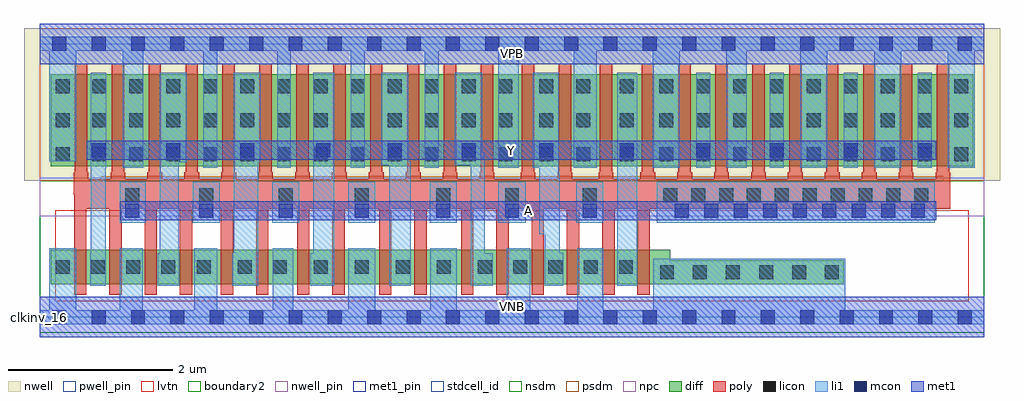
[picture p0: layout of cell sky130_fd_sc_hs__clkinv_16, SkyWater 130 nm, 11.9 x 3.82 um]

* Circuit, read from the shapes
.subckt sky130_fd_sc_hs__clkinv_16 A VGND VNB VPB VPWR Y
XM1 Y A VGND VNB sky130_fd_pr__nfet_01v8_lvt w=0.42 l=0.15 m=16
XM2 Y A VPWR VPB sky130_fd_pr__pfet_01v8 w=1.12 l=0.15 m=24
.ends

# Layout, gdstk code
import gdstk
lib = gdstk.Library(unit=1e-6, precision=1e-09)
def R(c, l, rs):  # rectangles x0, y0, x1, y1
    for r in rs: c.add(gdstk.rectangle(r[:2], r[2:], *l))
def A(c, l, x, y, w, h, nx, ny, dx, dy):  # array of equal rectangles
    R(c, l, [(x+i*dx, y+j*dy, x+i*dx+w, y+j*dy+h) for i in range(nx) for j in range(ny)])
def P(c, l, *ps):  # polygons
    for p in ps: c.add(gdstk.Polygon(p, *l))
nwell_pin = (64, 16)
nwell = (64, 20)
diff = (65, 20)
poly = (66, 20)
licon = (66, 44)
li1 = (67, 20)
mcon = (67, 44)
met1_pin = (68, 16)
met1 = (68, 20)
stdcell_id = (81, 4)
nsdm = (93, 44)
psdm = (94, 20)
npc = (95, 20)
pwell_pin = (122, 16)
lvtn = (125, 44)
boundary2 = (236, 0)

sky130_fd_sc_hs__clkinv_ = lib.new_cell('sky130_fd_sc_hs__clkinv_16')
R(sky130_fd_sc_hs__clkinv_, nwell_pin, [(0,3.085,11.52,3.33)])
R(sky130_fd_sc_hs__clkinv_, nwell, [(-0.19,1.66,11.71,3.52)])
R(sky130_fd_sc_hs__clkinv_, diff, [(0.135,1.84,11.385,2.96)])
P(sky130_fd_sc_hs__clkinv_, diff, [(9.805,0.69),(7.69,0.69),(7.69,0.82),(0.135,0.82),(0.135,0.4),(9.805,0.4)])
P(sky130_fd_sc_hs__clkinv_, poly, [(11.105,1.765),(11.09,1.765),(11.09,3.09),(10.94,3.09),(10.94,1.765),(10.925,1.765),(10.925,1.68),(10.655,1.68),(10.655,1.765),(10.64,1.765),(10.64,3.09),(10.49,3.09),(10.49,1.765),(10.475,1.765),(10.475,1.68),(10.205,1.68),(10.205,1.765),(10.19,1.765),(10.19,3.09),(10.04,3.09),(10.04,1.765),(10.025,1.765),(10.025,1.68),(9.755,1.68),(9.755,1.765),(9.74,1.765),(9.74,3.09),(9.59,3.09),(9.59,1.765),(9.575,1.765),(9.575,1.68),(9.305,1.68),(9.305,1.765),(9.29,1.765),(9.29,3.09),(9.14,3.09),(9.14,1.765),(9.125,1.765),(9.125,1.68),(8.855,1.68),(8.855,1.765),(8.84,1.765),(8.84,3.09),(8.69,3.09),(8.69,1.765),(8.675,1.765),(8.675,1.68),(8.405,1.68),(8.405,1.765),(8.39,1.765),(8.39,3.09),(8.24,3.09),(8.24,1.765),(8.225,1.765),(8.225,1.68),(7.955,1.68),(7.955,1.765),(7.94,1.765),(7.94,3.09),(7.79,3.09),(7.79,1.765),(7.775,1.765),(7.775,1.68),(7.505,1.68),(7.505,1.765),(7.49,1.765),(7.49,3.09),(7.34,3.09),(7.34,1.765),(7.325,1.765),(7.325,1.68),(6.995,1.68),(6.995,1.765),(6.98,1.765),(6.98,3.09),(6.83,3.09),(6.83,1.765),(6.815,1.765),(6.815,1.68),(6.495,1.68),(6.495,1.765),(6.48,1.765),(6.48,3.09),(6.33,3.09),(6.33,1.765),(6.315,1.765),(6.315,1.68),(6.045,1.68),(6.045,1.765),(6.03,1.765),(6.03,3.09),(5.88,3.09),(5.88,1.765),(5.865,1.765),(5.865,1.68),(5.76,1.68),(5.76,1.32),(6,1.32),(6,0.27),(6.15,0.27),(6.15,1.32),(6.43,1.32),(6.43,0.27),(6.58,0.27),(6.58,1.32),(6.86,1.32),(6.86,0.27),(7.01,0.27),(7.01,1.32),(7.29,1.32),(7.29,0.27),(7.44,0.27),(7.44,1.32),(11.105,1.32)],
  [(5.76,1.68),(5.545,1.68),(5.545,1.765),(5.53,1.765),(5.53,3.09),(5.38,3.09),(5.38,1.765),(5.365,1.765),(5.365,1.68),(5.095,1.68),(5.095,1.765),(5.08,1.765),(5.08,3.09),(4.93,3.09),(4.93,1.765),(4.915,1.765),(4.915,1.68),(4.645,1.68),(4.645,1.765),(4.63,1.765),(4.63,3.09),(4.48,3.09),(4.48,1.765),(4.465,1.765),(4.465,1.68),(4.195,1.68),(4.195,1.765),(4.18,1.765),(4.18,3.09),(4.03,3.09),(4.03,1.765),(4.015,1.765),(4.015,1.68),(3.745,1.68),(3.745,1.765),(3.73,1.765),(3.73,3.09),(3.58,3.09),(3.58,1.765),(3.565,1.765),(3.565,1.68),(3.295,1.68),(3.295,1.765),(3.28,1.765),(3.28,3.09),(3.13,3.09),(3.13,1.765),(3.115,1.765),(3.115,1.68),(2.845,1.68),(2.845,1.765),(2.83,1.765),(2.83,3.09),(2.68,3.09),(2.68,1.765),(2.665,1.765),(2.665,1.68),(2.395,1.68),(2.395,1.765),(2.38,1.765),(2.38,3.09),(2.23,3.09),(2.23,1.765),(2.215,1.765),(2.215,1.68),(1.945,1.68),(1.945,1.765),(1.93,1.765),(1.93,3.09),(1.78,3.09),(1.78,1.765),(1.765,1.765),(1.765,1.68),(1.495,1.68),(1.495,1.765),(1.48,1.765),(1.48,3.09),(1.33,3.09),(1.33,1.765),(1.315,1.765),(1.315,1.68),(1.045,1.68),(1.045,1.765),(1.03,1.765),(1.03,3.09),(0.88,3.09),(0.88,1.765),(0.865,1.765),(0.865,1.68),(0.595,1.68),(0.595,1.765),(0.58,1.765),(0.58,3.09),(0.43,3.09),(0.43,1.765),(0.415,1.765),(0.415,1.5),(0.42,1.5),(0.42,0.27),(0.57,0.27),(0.57,1.32),(0.85,1.32),(0.85,0.27),(1,0.27),(1,1.32),(1.28,1.32),(1.28,0.27),(1.43,0.27),(1.43,1.32),(1.71,1.32),(1.71,0.27),(1.86,0.27),(1.86,1.32),(2.21,1.32),(2.21,0.27),(2.36,0.27),(2.36,1.32),(2.64,1.32),(2.64,0.27),(2.79,0.27),(2.79,1.32),(3.14,1.32),(3.14,0.27),(3.29,0.27),(3.29,1.32),(3.57,1.32),(3.57,0.27),(3.72,0.27),(3.72,1.32),(4.14,1.32),(4.14,0.27),(4.29,0.27),(4.29,1.32),(4.57,1.32),(4.57,0.27),(4.72,0.27),(4.72,1.32),(5.14,1.32),(5.14,0.27),(5.29,0.27),(5.29,1.32),(5.57,1.32),(5.57,0.27),(5.72,0.27),(5.72,1.32),(5.76,1.32)])
A(sky130_fd_sc_hs__clkinv_, licon, 7.565, 0.46, 0.17, 0.17, 3, 1, 0.4, 0)
A(sky130_fd_sc_hs__clkinv_, licon, 8.775, 0.46, 0.17, 0.17, 3, 1, 0.4, 0)
A(sky130_fd_sc_hs__clkinv_, licon, 0.195, 0.525, 0.17, 0.17, 5, 1, 0.43, 0)
A(sky130_fd_sc_hs__clkinv_, licon, 2.845, 0.525, 0.17, 0.17, 6, 1, 0.5, 0)
A(sky130_fd_sc_hs__clkinv_, licon, 5.775, 0.525, 0.17, 0.17, 4, 1, 0.43, 0)
A(sky130_fd_sc_hs__clkinv_, licon, 7.605, 1.4, 0.17, 0.17, 10, 1, 0.34, 0)
A(sky130_fd_sc_hs__clkinv_, licon, 0.195, 1.9, 0.17, 0.17, 13, 3, 0.45, 0.415)
A(sky130_fd_sc_hs__clkinv_, licon, 6.095, 1.9, 0.17, 0.17, 1, 3, 0, 0.415)
A(sky130_fd_sc_hs__clkinv_, licon, 6.545, 1.9, 0.17, 0.17, 1, 3, 0, 0.415)
A(sky130_fd_sc_hs__clkinv_, licon, 7.075, 1.9, 0.17, 0.17, 1, 3, 0, 0.415)
A(sky130_fd_sc_hs__clkinv_, licon, 7.555, 1.9, 0.17, 0.17, 9, 3, 0.45, 0.415)
R(sky130_fd_sc_hs__clkinv_, licon, [(2.415,0.525,2.585,0.695), (1.045,1.4,1.215,1.57), (1.945,1.4,2.115,1.57), (2.915,1.4,3.085,1.57), (3.845,1.4,4.015,1.57), (4.835,1.4,5.005,1.57), (5.675,1.4,5.845,1.57), (6.625,1.4,6.795,1.57)])
A(sky130_fd_sc_hs__clkinv_, li1, 8.005, 1.82, 0.17, 1.16, 4, 1, 0.9, 0)
R(sky130_fd_sc_hs__clkinv_, li1, [(7.045,0.38,7.29,2.98), (0.975,1.15,1.295,1.65), (1.865,1.15,2.195,1.65), (2.835,1.15,3.165,1.65), (3.765,1.15,4.095,1.65), (4.755,1.15,5.085,1.65), (5.595,1.15,5.925,1.65), (6.545,1.15,6.875,1.65), (7.525,1.15,10.915,1.65)])
P(sky130_fd_sc_hs__clkinv_, li1, [(11.52,3.415),(0,3.415),(0,3.245),(0.115,3.245),(0.115,1.9),(0.445,1.9),(0.445,3.245),(1.015,3.245),(1.015,1.82),(1.265,1.82),(1.265,3.245),(1.995,3.245),(1.995,1.82),(2.165,1.82),(2.165,3.245),(2.895,3.245),(2.895,1.82),(3.065,1.82),(3.065,3.245),(3.795,3.245),(3.795,1.82),(3.965,1.82),(3.965,3.245),(4.695,3.245),(4.695,1.82),(4.865,1.82),(4.865,3.245),(5.595,3.245),(5.595,1.82),(5.845,1.82),(5.845,3.245),(6.51,3.245),(6.51,1.82),(6.795,1.82),(6.795,3.245),(7.475,3.245),(7.475,1.82),(7.805,1.82),(7.805,3.245),(8.375,3.245),(8.375,1.82),(8.625,1.82),(8.625,3.245),(9.275,3.245),(9.275,1.82),(9.605,1.82),(9.605,3.245),(10.175,3.245),(10.175,1.82),(10.505,1.82),(10.505,3.245),(11.075,3.245),(11.075,1.82),(11.405,1.82),(11.405,3.245),(11.52,3.245)],
  [(0.815,2.98),(0.625,2.98),(0.625,0.775),(0.615,0.775),(0.615,0.38),(0.805,0.38),(0.805,1.82),(0.815,1.82)],
  [(1.795,2.98),(1.465,2.98),(1.465,0.775),(1.44,0.775),(1.44,0.38),(1.7,0.38),(1.7,0.775),(1.695,0.775),(1.695,1.885),(1.795,1.885)],
  [(2.695,2.98),(2.365,2.98),(2.365,0.775),(2.35,0.775),(2.35,0.38),(2.665,0.38),(2.665,1.885),(2.695,1.885)],
  [(3.595,2.98),(3.335,2.98),(3.335,0.775),(3.3,0.775),(3.3,0.38),(3.595,0.38)],
  [(6.385,0.785),(6.34,0.785),(6.34,1.76),(6.33,1.76),(6.33,2.98),(6.015,2.98),(6.015,1.82),(6.095,1.82),(6.095,1.01),(6.16,1.01),(6.16,0.38),(6.385,0.38)],
  [(4.525,1.9),(4.495,1.9),(4.495,2.98),(4.165,2.98),(4.165,1.85),(4.265,1.85),(4.265,0.38),(4.525,0.38)],
  [(11.52,0.085),(9.825,0.085),(9.825,0.71),(7.485,0.71),(7.485,0.085),(6.875,0.085),(6.875,0.84),(6.555,0.84),(6.555,0.085),(5.98,0.085),(5.98,0.84),(5.695,0.84),(5.695,0.085),(5.085,0.085),(5.085,0.84),(4.765,0.84),(4.765,0.085),(4.095,0.085),(4.095,0.84),(3.765,0.84),(3.765,0.085),(3.095,0.085),(3.095,0.84),(2.845,0.84),(2.845,0.085),(2.165,0.085),(2.165,0.84),(1.885,0.84),(1.885,0.085),(1.26,0.085),(1.26,0.84),(0.975,0.84),(0.975,0.085),(0.445,0.085),(0.445,0.84),(0.115,0.84),(0.115,0.085),(0,0.085),(0,-0.085),(11.52,-0.085)],
  [(5.525,0.775),(5.425,0.775),(5.425,2.01),(5.395,2.01),(5.395,2.98),(5.065,2.98),(5.065,1.85),(5.255,1.85),(5.255,0.38),(5.525,0.38)])
A(sky130_fd_sc_hs__clkinv_, mcon, 0.155, -0.085, 0.17, 0.17, 24, 2, 0.48, 3.33)
A(sky130_fd_sc_hs__clkinv_, mcon, 7.745, 1.21, 0.17, 0.17, 9, 1, 0.36, 0)
A(sky130_fd_sc_hs__clkinv_, mcon, 8.005, 1.95, 0.17, 0.17, 4, 1, 0.9, 0)
R(sky130_fd_sc_hs__clkinv_, mcon, [(1.045,1.21,1.215,1.38), (1.945,1.21,2.115,1.38), (2.915,1.21,3.085,1.38), (3.845,1.21,4.015,1.38), (4.835,1.21,5.005,1.38), (5.675,1.21,5.845,1.38), (6.625,1.21,6.795,1.38), (0.635,1.95,0.805,2.12), (1.545,1.95,1.715,2.12), (2.445,1.95,2.615,2.12), (3.375,1.95,3.545,2.12), (4.245,1.95,4.415,2.12), (5.145,1.95,5.315,2.12), (6.095,1.95,6.265,2.12), (7.075,1.95,7.245,2.12)])
R(sky130_fd_sc_hs__clkinv_, met1_pin, [(0,0,11.52,0.245), (0.985,1.18,10.935,1.41), (0.575,1.92,10.935,2.15), (0,3.085,11.52,3.33)])
R(sky130_fd_sc_hs__clkinv_, met1, [(0,-0.245,11.52,0.245), (0.985,1.18,10.935,1.41), (0.575,1.92,10.935,2.15), (0,3.085,11.52,3.575)])
R(sky130_fd_sc_hs__clkinv_, stdcell_id, [(0,0,11.52,3.33)])
R(sky130_fd_sc_hs__clkinv_, nsdm, [(0,-0.19,11.52,1.66)])
P(sky130_fd_sc_hs__clkinv_, psdm, [(11.52,3.52),(0,3.52),(0,1.66),(0.745,1.66),(0.745,1.71),(11.02,1.71),(11.02,1.66),(11.52,1.66)])
R(sky130_fd_sc_hs__clkinv_, npc, [(0,1.23,11.52,1.7)])
R(sky130_fd_sc_hs__clkinv_, pwell_pin, [(0,0,11.52,0.245)])
R(sky130_fd_sc_hs__clkinv_, lvtn, [(0.19,0.19,11.33,1.3)])
R(sky130_fd_sc_hs__clkinv_, boundary2, [(0,0,11.52,3.33)])
sky130_fd_sc_hs__clkinv_.add(gdstk.Label('clkinv_16', (0,0), layer=83, texttype=44))
sky130_fd_sc_hs__clkinv_.add(gdstk.Label('VNB', (5.76,0.123), layer=64, texttype=59))
sky130_fd_sc_hs__clkinv_.add(gdstk.Label('VPB', (5.76,3.208), layer=64, texttype=5))
sky130_fd_sc_hs__clkinv_.add(gdstk.Label('VPWR', (5.76,3.208), layer=68, texttype=5))
sky130_fd_sc_hs__clkinv_.add(gdstk.Label('VGND', (5.76,0.123), layer=68, texttype=5))
sky130_fd_sc_hs__clkinv_.add(gdstk.Label('A', (5.96,1.295), layer=68, texttype=5))
sky130_fd_sc_hs__clkinv_.add(gdstk.Label('Y', (5.755,2.035), layer=68, texttype=5))

lib.write_gds('sky130_fd_sc_hs__clkinv_16.gds')
